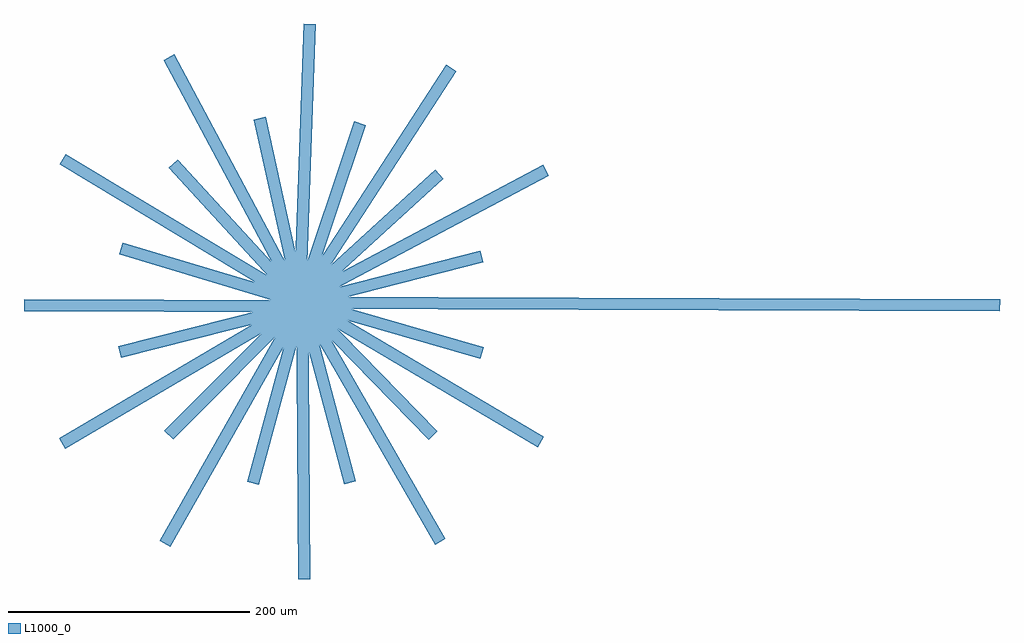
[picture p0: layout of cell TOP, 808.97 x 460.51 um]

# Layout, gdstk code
import gdstk
lib = gdstk.Library(unit=1e-6, precision=1e-09)
L1000_0 = (1000, 0)

top = lib.new_cell('TOP')
top.add(gdstk.FlexPath([(198.627,375.018),(197.045,370.574),(195.203,366.298),(193.114,362.198),(190.789,358.278),(188.239,354.545),(185.477,351.005),(182.515,347.665),(179.365,344.53),(176.038,341.606),(172.546,338.9),(168.902,336.418),(165.117,334.165),(161.202,332.148),(157.171,330.374),(153.034,328.847),(148.803,327.575),(144.491,326.563),(140.11,325.818),(135.67,325.345),(131.185,325.151),(126.666,325.242),(122.124,325.624),(117.572,326.303),(113.022,327.285),(108.485,328.576),(104.041,330.158),(99.766,331.999),(95.666,334.088),(91.746,336.414),(88.013,338.963),(84.474,341.725),(81.133,344.686),(77.998,347.837),(75.075,351.164),(72.368,354.655),(69.886,358.3),(67.633,362.085),(65.616,366),(63.841,370.031),(62.315,374.168),(61.042,378.399),(60.03,382.711),(59.285,387.092),(58.812,391.532),(58.618,396.017),(58.708,400.537),(59.09,405.078),(59.769,409.63),(60.751,414.181),(62.042,418.718),(63.624,423.161),(65.466,427.436),(67.555,431.537),(69.88,435.456),(72.429,439.189),(75.191,442.729),(78.153,446.069),(81.303,449.204),(84.63,452.128),(88.122,454.834),(91.766,457.317),(95.552,459.569),(99.466,461.586),(103.498,463.361),(107.635,464.888),(111.865,466.16),(116.177,467.172),(120.559,467.918),(124.998,468.391),(129.484,468.585),(134.003,468.494),(138.545,468.112),(143.097,467.434),(147.647,466.452),(152.184,465.16),(156.628,463.578),(160.903,461.737),(165.003,459.647),(168.923,457.322),(172.655,454.772),(176.195,452.011),(179.535,449.049),(182.67,445.898),(185.594,442.571),(188.3,439.079),(190.783,435.435),(193.035,431.649),(195.052,427.735),(196.827,423.703),(198.354,419.566),(199.626,415.335),(200.638,411.023),(201.384,406.641),(201.857,402.202),(202.051,397.717),(201.96,393.197),(201.579,388.656),(200.9,384.104),(199.918,379.554),(198.627,375.018)], 0, ends="flush", simple_path=True, layer=1000, datatype=0))  # L1000_0
top.add(gdstk.FlexPath([(134.346,395.072),(276.592,431.585)], 10, ends="extended", simple_path=True, layer=1000, datatype=0))  # L1000_0
top.add(gdstk.FlexPath([(134.032,394.353),(705.97,392.354)], 10, ends="extended", simple_path=True, layer=1000, datatype=0))  # L1000_0
top.add(gdstk.FlexPath([(130.194,399.051),(98.556,542.461)], 10, ends="extended", simple_path=True, layer=1000, datatype=0))  # L1000_0
top.add(gdstk.FlexPath([(130.902,398.712),(138.629,620.504)], 10, ends="extended", simple_path=True, layer=1000, datatype=0))  # L1000_0
top.add(gdstk.FlexPath([(128.566,397.782),(29.203,505.92)], 10, ends="extended", simple_path=True, layer=1000, datatype=0))  # L1000_0
top.add(gdstk.FlexPath([(129.348,397.844),(24.671,593.535)], 10, ends="extended", simple_path=True, layer=1000, datatype=0))  # L1000_0
top.add(gdstk.FlexPath([(127.795,395.826),(-12.932,437.815)], 10, ends="extended", simple_path=True, layer=1000, datatype=0))  # L1000_0
top.add(gdstk.FlexPath([(128.436,396.28),(-61.694,510.744)], 10, ends="extended", simple_path=True, layer=1000, datatype=0))  # L1000_0
top.add(gdstk.FlexPath([(128.643,390.844),(-13.706,354.732)], 10, ends="extended", simple_path=True, layer=1000, datatype=0))  # L1000_0
top.add(gdstk.FlexPath([(128.958,391.564),(-92.965,392.341)], 10, ends="extended", simple_path=True, layer=1000, datatype=0))  # L1000_0
top.add(gdstk.FlexPath([(129.479,392.133),(25.533,288.395)], 10, ends="extended", simple_path=True, layer=1000, datatype=0))  # L1000_0
top.add(gdstk.FlexPath([(129.383,392.914),(-61.82,280.251)], 10, ends="extended", simple_path=True, layer=1000, datatype=0))  # L1000_0
top.add(gdstk.FlexPath([(131.41,391.443),(93.076,249.679)], 10, ends="extended", simple_path=True, layer=1000, datatype=0))  # L1000_0
top.add(gdstk.FlexPath([(130.941,392.072),(21.431,199.046)], 10, ends="extended", simple_path=True, layer=1000, datatype=0))  # L1000_0
top.add(gdstk.FlexPath([(133.426,391.809),(171.045,249.851)], 10, ends="extended", simple_path=True, layer=1000, datatype=0))  # L1000_0
top.add(gdstk.FlexPath([(132.705,392.121),(134.281,170.198)], 10, ends="extended", simple_path=True, layer=1000, datatype=0))  # L1000_0
top.add(gdstk.FlexPath([(134.967,393.104),(237.458,287.919)], 10, ends="extended", simple_path=True, layer=1000, datatype=0))  # L1000_0
top.add(gdstk.FlexPath([(134.187,393.017),(244.552,200.476)], 10, ends="extended", simple_path=True, layer=1000, datatype=0))  # L1000_0
top.add(gdstk.FlexPath([(135.678,394.994),(276.705,354.017)], 10, ends="extended", simple_path=True, layer=1000, datatype=0))  # L1000_0
top.add(gdstk.FlexPath([(135.04,394.535),(325.988,281.439)], 10, ends="extended", simple_path=True, layer=1000, datatype=0))  # L1000_0
top.add(gdstk.FlexPath([(132.297,399.32),(179.02,538.547)], 10, ends="extended", simple_path=True, layer=1000, datatype=0))  # L1000_0
top.add(gdstk.FlexPath([(132.732,398.665),(253.557,584.82)], 10, ends="extended", simple_path=True, layer=1000, datatype=0))  # L1000_0
top.add(gdstk.FlexPath([(134.134,398.555),(242.589,497.571)], 10, ends="extended", simple_path=True, layer=1000, datatype=0))  # L1000_0
top.add(gdstk.FlexPath([(134.194,397.77),(330.218,501.825)], 10, ends="extended", simple_path=True, layer=1000, datatype=0))  # L1000_0

lib.write_gds('TOP.gds')
